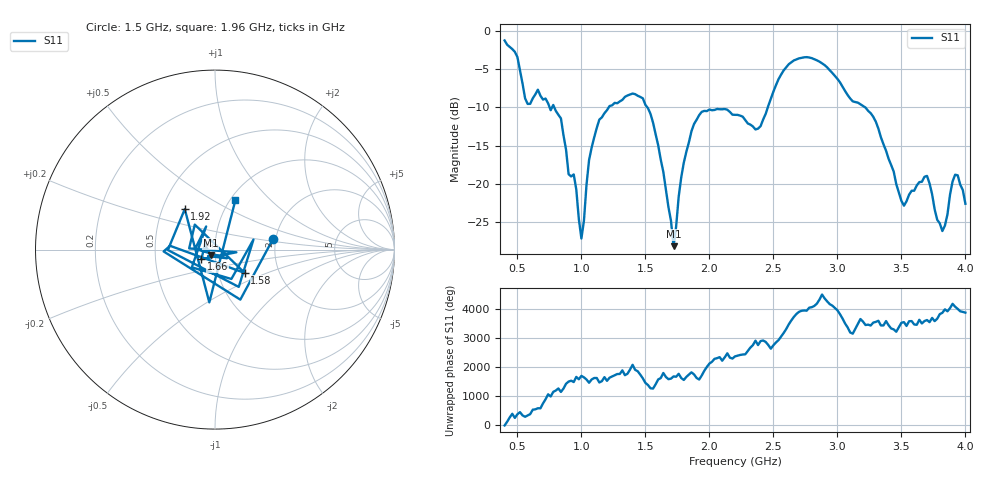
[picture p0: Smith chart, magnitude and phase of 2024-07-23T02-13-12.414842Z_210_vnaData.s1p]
!Created with skrf (http://scikit-rf.org).
# Hz S RI R 50.0
!freq ReS11 ImS11
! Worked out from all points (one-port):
!   181 points, 400 MHz to 4 GHz, reference 50 ohm
!   lowest |S11| = -28.1 dB at 1.72 GHz (marker M1), VSWR 1.08, Z = 47.7 - j3.06 ohm
!   |S11| at or under -10 dB: 788.2 MHz to 1.213 GHz (425.3 MHz wide, 42.5 % of centre); 1.515 GHz to 2.456 GHz (940.9 MHz wide, 47.4 % of centre); 3.217 GHz to end of sweep (the widest 3 of 4)
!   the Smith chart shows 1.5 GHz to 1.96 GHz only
!   S11 on the Smith chart (normalised r, x): 1.5 GHz: 1.93, +0.26; 1.58 GHz: 1.34, -0.37; 1.66 GHz: 0.86, -0.09; 1.92 GHz: 0.65, +0.32; 1.96 GHz: 1.06, +0.64
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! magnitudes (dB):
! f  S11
! 400 MHz  -1.3
! 580 MHz  -9.6
! 660 MHz  -7.7
! 860 MHz  -13.6
! 900 MHz  -18.7
! 940 MHz  -18.7
! 1 GHz  -27.1
! 1.06 GHz  -16.9
! 1.12 GHz  -12.7
! 1.3 GHz  -9.2
! 1.5 GHz  -9.7
! 1.58 GHz  -13.5
! 1.66 GHz  -20.7
! 1.72 GHz  -28.1
! 1.76 GHz  -21.6
! 1.92 GHz  -11.0
! 1.96 GHz  -10.5
! 2.2 GHz  -11.0
! 2.38 GHz  -12.8
! 2.66 GHz  -3.9
! 3.1 GHz  -8.8
! 3.28 GHz  -11.2
! 3.5 GHz  -22.2
! 3.56 GHz  -21.4
! 3.7 GHz  -18.9
! 3.82 GHz  -26.1
! 3.92 GHz  -18.8
! 4 GHz  -22.6
